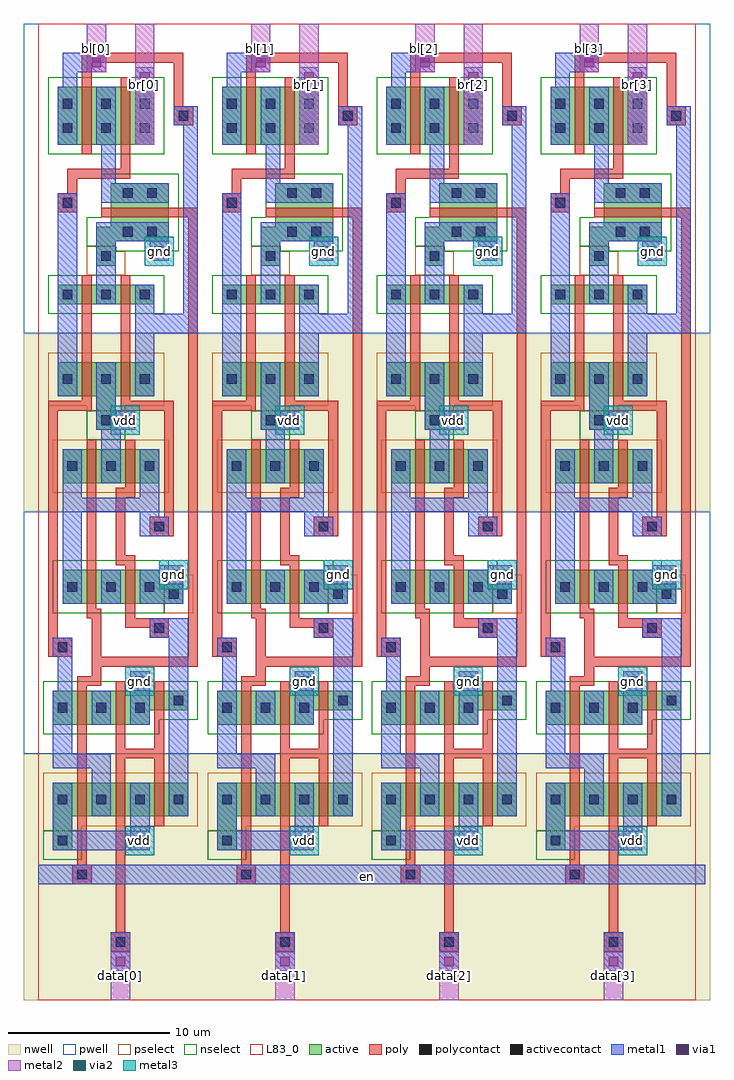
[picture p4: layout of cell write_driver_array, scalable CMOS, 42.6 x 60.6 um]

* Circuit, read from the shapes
.subckt write_driver_array bl[0] bl[1] bl[2] bl[3] br[0] br[1] br[2] br[3] data[0] data[1] data[2] data[3] en gnd vdd
M1 n1 en n2 gnd nfet w=2.1u l=0.6u
M2 gnd n2 n3 gnd nfet w=1.2u l=0.6u
M3 n4 n5 bl[0] gnd nfet w=3.6u l=0.6u
M4 n6 en n7 gnd nfet w=2.1u l=0.6u
M5 n4 en gnd gnd nfet w=3.6u l=0.6u
M6 gnd data[0] n1 gnd nfet w=2.1u l=0.6u
M7 n5 n7 gnd gnd nfet w=1.2u l=0.6u
M8 br[0] n3 n4 gnd nfet w=3.6u l=0.6u
M9 gnd n8 n6 gnd nfet w=2.1u l=0.6u
M10 n8 data[0] gnd gnd nfet w=1.2u l=0.6u
M11 n9 en n10 gnd nfet w=2.1u l=0.6u
M12 gnd n10 n11 gnd nfet w=1.2u l=0.6u
M13 n12 n13 bl[1] gnd nfet w=3.6u l=0.6u
M14 n14 en n15 gnd nfet w=2.1u l=0.6u
M15 n12 en gnd gnd nfet w=3.6u l=0.6u
M16 gnd data[1] n9 gnd nfet w=2.1u l=0.6u
M17 n13 n15 gnd gnd nfet w=1.2u l=0.6u
M18 br[1] n11 n12 gnd nfet w=3.6u l=0.6u
M19 gnd n16 n14 gnd nfet w=2.1u l=0.6u
M20 n16 data[1] gnd gnd nfet w=1.2u l=0.6u
M21 n17 en n18 gnd nfet w=2.1u l=0.6u
M22 gnd n18 n19 gnd nfet w=1.2u l=0.6u
M23 n20 n21 bl[2] gnd nfet w=3.6u l=0.6u
M24 n22 en n23 gnd nfet w=2.1u l=0.6u
M25 n20 en gnd gnd nfet w=3.6u l=0.6u
M26 gnd data[2] n17 gnd nfet w=2.1u l=0.6u
M27 n21 n23 gnd gnd nfet w=1.2u l=0.6u
M28 br[2] n19 n20 gnd nfet w=3.6u l=0.6u
M29 gnd n24 n22 gnd nfet w=2.1u l=0.6u
M30 n24 data[2] gnd gnd nfet w=1.2u l=0.6u
M31 n25 en n26 gnd nfet w=2.1u l=0.6u
M32 gnd n26 n27 gnd nfet w=1.2u l=0.6u
M33 n28 n29 bl[3] gnd nfet w=3.6u l=0.6u
M34 n30 en n31 gnd nfet w=2.1u l=0.6u
M35 n28 en gnd gnd nfet w=3.6u l=0.6u
M36 gnd data[3] n25 gnd nfet w=2.1u l=0.6u
M37 n29 n31 gnd gnd nfet w=1.2u l=0.6u
M38 br[3] n27 n28 gnd nfet w=3.6u l=0.6u
M39 gnd n32 n30 gnd nfet w=2.1u l=0.6u
M40 n32 data[3] gnd gnd nfet w=1.2u l=0.6u
M41 n2 en vdd vdd pfet w=2.1u l=0.6u
M42 vdd n2 n3 vdd pfet w=2.1u l=0.6u
M43 vdd en n7 vdd pfet w=2.1u l=0.6u
M44 vdd data[0] n2 vdd pfet w=2.1u l=0.6u
M45 n5 n7 vdd vdd pfet w=2.1u l=0.6u
M46 n7 n8 vdd vdd pfet w=2.1u l=0.6u
M47 n8 data[0] vdd vdd pfet w=2.1u l=0.6u
M48 n10 en vdd vdd pfet w=2.1u l=0.6u
M49 vdd n10 n11 vdd pfet w=2.1u l=0.6u
M50 vdd en n15 vdd pfet w=2.1u l=0.6u
M51 vdd data[1] n10 vdd pfet w=2.1u l=0.6u
M52 n13 n15 vdd vdd pfet w=2.1u l=0.6u
M53 n15 n16 vdd vdd pfet w=2.1u l=0.6u
M54 n16 data[1] vdd vdd pfet w=2.1u l=0.6u
M55 n18 en vdd vdd pfet w=2.1u l=0.6u
M56 vdd n18 n19 vdd pfet w=2.1u l=0.6u
M57 vdd en n23 vdd pfet w=2.1u l=0.6u
M58 vdd data[2] n18 vdd pfet w=2.1u l=0.6u
M59 n21 n23 vdd vdd pfet w=2.1u l=0.6u
M60 n23 n24 vdd vdd pfet w=2.1u l=0.6u
M61 n24 data[2] vdd vdd pfet w=2.1u l=0.6u
M62 n26 en vdd vdd pfet w=2.1u l=0.6u
M63 vdd n26 n27 vdd pfet w=2.1u l=0.6u
M64 vdd en n31 vdd pfet w=2.1u l=0.6u
M65 vdd data[3] n26 vdd pfet w=2.1u l=0.6u
M66 n29 n31 vdd vdd pfet w=2.1u l=0.6u
M67 n31 n32 vdd vdd pfet w=2.1u l=0.6u
M68 n32 data[3] vdd vdd pfet w=2.1u l=0.6u
.ends

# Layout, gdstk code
import gdstk
lib = gdstk.Library(unit=1e-6, precision=1e-09)
def R(c, l, rs):  # rectangles x0, y0, x1, y1
    for r in rs: c.add(gdstk.rectangle(r[:2], r[2:], *l))
def A(c, l, x, y, w, h, nx, ny, dx, dy):  # array of equal rectangles
    R(c, l, [(x+i*dx, y+j*dy, x+i*dx+w, y+j*dy+h) for i in range(nx) for j in range(ny)])
pwell = (41, 0)
nwell = (42, 0)
active = (43, 0)
pselect = (44, 0)
nselect = (45, 0)
poly = (46, 0)
polycontact = (47, 0)
activecontact = (48, 0)
metal1 = (49, 0)
via1 = (50, 0)
metal2 = (51, 0)
via2 = (61, 0)
metal3 = (62, 0)
L83_0 = (83, 0)

write_driver = lib.new_cell('write_driver')
R(write_driver, pwell, [(-0.9,15.3,11.1,30.3), (-0.9,41.4,11.1,60.6)])
R(write_driver, nwell, [(-0.9,0,11.1,15.3), (-0.9,30.3,11.1,41.4)])
R(write_driver, active, [(0.9,9.3,2.1,11.4), (0.9,11.4,9.3,13.5), (0.9,17.1,6.9,18), (0.9,18,9.3,19.2), (1.5,24.6,9,25.8), (1.5,25.8,7.5,26.7), (1.5,32.1,7.5,34.2), (3.6,35.4,4.8,37.5), (1.2,37.5,7.2,39.6), (1.2,43.2,7.2,44.4), (3.6,45.6,4.8,47.1), (3.6,47.1,8.1,48), (4.5,48,8.1,50.7), (1.2,53.1,7.2,56.7)])
R(write_driver, pselect, [(0.3,10.5,2.7,10.8), (0.3,10.8,9.9,14.1), (7.8,24,9.6,25.8), (8.1,25.8,9.6,26.4), (0.9,31.5,8.1,34.8), (3,36.6,5.4,36.9), (0.6,36.9,7.8,40.2), (3,45,5.4,46.5), (3,46.5,4.8,46.8)])
R(write_driver, nselect, [(0.3,8.7,2.7,10.5), (0.3,16.5,7.5,17.4), (0.3,17.4,9.9,19.8), (0.9,24,7.8,25.8), (0.9,25.8,8.1,27.3), (3,34.8,5.4,36.6), (0.6,42.6,7.8,45), (4.8,46.5,8.7,46.8), (3,46.8,8.7,48.6), (3.9,48.6,8.7,51.3), (0.6,52.5,7.8,57.3)])
R(write_driver, poly, [(4.5,3,5.7,4.2), (4.8,4.2,5.4,15), (2.1,7.2,3.3,8.4), (2.4,8.4,3,19.5), (7.2,10.8,7.8,15), (4.8,15,7.8,15.6), (4.8,15.6,5.4,19.8), (7.2,15.6,7.8,19.8), (2.4,19.5,3.9,20.1), (3.3,20.1,3.9,20.7), (3.3,20.7,9.9,21.3), (0.6,21.3,2.1,22.5), (3.3,21.3,3.9,23.7), (9.3,21.3,9.9,48.6), (0.6,22.5,1.2,36.6), (6.9,22.5,8.1,23.1), (5.4,23.1,8.1,23.7), (3,23.7,3.9,24.3), (5.4,23.7,6,27), (3,24.3,3.6,34.8), (4.8,27,6,27.6), (4.8,27.6,5.4,31.2), (6.9,28.8,8.4,30), (7.8,30,8.4,36.6), (4.8,31.2,6,31.8), (5.4,31.8,6,34.8), (0.6,36.6,3.3,37.2), (5.1,36.6,8.4,37.2), (2.7,37.2,3.3,45), (5.1,37.2,5.7,45), (3.9,48.6,9.9,49.2), (1.2,48.9,2.4,50.1), (1.8,50.1,2.4,51), (1.8,51,5.7,51.6), (5.1,51.6,5.7,57.3), (2.7,52.5,3.3,58.2), (8.4,54.3,9.6,55.5), (8.4,55.5,9,58.2), (2.7,58.2,9,58.8)])
R(write_driver, polycontact, [(4.8,3.3,5.4,3.9), (2.4,7.5,3,8.1), (1.2,21.6,1.8,22.2), (7.2,22.8,7.8,23.4), (7.2,29.1,7.8,29.7), (1.5,49.2,2.1,49.8), (8.7,54.6,9.3,55.2)])
A(write_driver, activecontact, 1.2, 12.15, 0.6, 0.6, 4, 1, 2.4, 0)
A(write_driver, activecontact, 1.2, 17.85, 0.6, 0.6, 3, 1, 2.4, 0)
A(write_driver, activecontact, 1.8, 25.35, 0.6, 0.6, 3, 2, 2.4, 7.5)
A(write_driver, activecontact, 1.5, 38.25, 0.6, 0.6, 3, 2, 2.4, 5.25)
A(write_driver, activecontact, 1.5, 53.85, 0.6, 0.6, 3, 2, 2.4, 1.5)
R(write_driver, activecontact, [(1.2,9.6,1.8,10.2), (8.4,18.3,9,18.9), (8.1,24.9,8.7,25.5), (3.9,35.7,4.5,36.3), (3.9,45.9,4.5,46.5), (5.25,47.4,5.85,48), (6.75,47.4,7.35,48), (5.25,49.8,5.85,50.4), (6.75,49.8,7.35,50.4)])
R(write_driver, metal1, [(4.5,1.8,5.7,4.2), (0,7.2,10.8,8.4), (0,7.2,10.8,8.4), (0.9,9.3,6.9,10.5), (0.9,10.5,2.1,13.5), (5.7,10.5,6.9,13.5), (3.3,11.4,4.5,14.4), (8.1,11.4,9.3,22.5), (0.9,14.4,4.5,15.3), (0.9,15.3,2.1,19.2), (3.3,17.1,4.5,19.2), (5.7,17.1,6.9,20.4), (1.2,19.2,2.1,21.3), (0.9,21.3,2.1,22.5), (6.9,22.5,9.3,23.7), (1.5,24.6,2.7,30.3), (3.9,24.6,5.1,26.7), (6.3,24.6,9,26.7), (7.5,26.7,9,27), (6.3,28.8,8.1,30), (6.3,30,7.5,30.3), (1.5,30.3,7.5,31.2), (1.5,31.2,2.7,34.2), (6.3,31.2,7.5,34.2), (3.9,32.1,5.1,35.4), (3.6,35.4,6,36.6), (3.6,36.6,4.8,39.6), (1.2,37.5,2.4,50.1), (6,37.5,7.2,41.4), (6,41.4,9.9,42.6), (6,42.6,7.2,44.4), (9,42.6,9.9,54.3), (3.6,43.2,4.8,47.1), (6.9,45.9,8.1,47.1), (3.6,47.1,8.1,48.3), (3.9,49.5,8.1,50.7), (3.9,50.7,4.8,53.1), (1.2,53.1,2.4,56.7), (3.6,53.1,4.8,56.7), (6,53.1,7.2,57.9), (8.4,54.3,9.9,55.5), (1.5,56.7,2.4,57.6), (1.5,57.6,4.2,58.8)])
R(write_driver, via1, [(4.8,2.1,5.4,2.7), (6,9.6,6.6,10.2), (6,19.5,6.6,20.1), (8.1,26.1,8.7,26.7), (5.1,35.7,5.7,36.3), (7.2,46.2,7.8,46.8), (6.3,57,6.9,57.6), (3.3,57.9,3.9,58.5)])
R(write_driver, metal2, [(4.5,0,5.7,3), (4.5,0,5.7,3), (5.7,9.3,6.9,10.5), (5.7,9.3,6.9,10.5), (5.7,19.2,6.9,20.4), (5.7,19.2,6.9,20.4), (7.8,25.8,9,27), (7.8,25.8,9,27), (4.8,35.4,6,36.6), (4.8,35.4,6,36.6), (6.9,45.9,8.1,47.1), (6.9,45.9,8.1,47.1), (6,53.1,7.2,60.6), (6,53.1,7.2,60.6), (3,57.6,4.2,60.6), (3,57.6,4.2,60.6)])
R(write_driver, L83_0, [(0,0,10.2,60.6)])
write_driver.add(gdstk.Label('din', (4.5,0.3), layer=51, texttype=0))
write_driver.add(gdstk.Label('en', (0.6,7.5), layer=49, texttype=0))
write_driver.add(gdstk.Label('bl', (3.6,60), layer=51, texttype=0))
write_driver.add(gdstk.Label('br', (6.6,60), layer=51, texttype=0))
write_driver.add(gdstk.Label('gnd', (6.3,19.8), layer=51, texttype=0))
write_driver.add(gdstk.Label('gnd', (8.4,26.4), layer=51, texttype=0))
write_driver.add(gdstk.Label('vdd', (6.3,9.9), layer=51, texttype=0))
write_driver.add(gdstk.Label('vdd', (5.4,36), layer=51, texttype=0))
write_driver.add(gdstk.Label('gnd', (7.5,46.5), layer=51, texttype=0))
write_driver.add(gdstk.Label('din', (5.1,1.5), layer=51, texttype=0))
write_driver.add(gdstk.Label('bl', (3.6,59.1), layer=51, texttype=0))
write_driver.add(gdstk.Label('br', (6.6,56.85), layer=51, texttype=0))
write_driver.add(gdstk.Label('en', (5.4,7.8), layer=49, texttype=0))
write_driver.add(gdstk.Label('gnd', (6.3,19.8), layer=51, texttype=0))
write_driver.add(gdstk.Label('gnd', (8.4,26.4), layer=51, texttype=0))
write_driver.add(gdstk.Label('gnd', (7.5,46.5), layer=51, texttype=0))
write_driver.add(gdstk.Label('vdd', (6.3,9.9), layer=51, texttype=0))
write_driver.add(gdstk.Label('vdd', (5.4,36), layer=51, texttype=0))

metal2_via2_metal3_1x1 = lib.new_cell('metal2_via2_metal3_1x1')
R(metal2_via2_metal3_1x1, metal2, [(0.3,0.3,1.5,1.5)])
R(metal2_via2_metal3_1x1, via2, [(0.6,0.6,1.2,1.2)])
R(metal2_via2_metal3_1x1, metal3, [(0,0,1.8,1.8)])

write_driver_array = lib.new_cell('write_driver_array')
R(write_driver_array, metal1, [(0,7.2,40.8,8.1)])
A(write_driver_array, metal2, 4.5, 0, 1.2, 3, 4, 1, 10.2, 0)
A(write_driver_array, metal2, 6, 53.1, 1.2, 7.5, 4, 1, 10.2, 0)
A(write_driver_array, metal2, 3, 57.6, 1.2, 3, 4, 1, 10.2, 0)
A(write_driver_array, metal3, 5.55, 9.15, 1.5, 1.5, 4, 2, 10.2, 9.9)
A(write_driver_array, metal3, 7.65, 25.65, 1.5, 1.5, 4, 1, 10.2, 0)
A(write_driver_array, metal3, 4.65, 35.25, 1.5, 1.5, 4, 1, 10.2, 0)
A(write_driver_array, metal3, 6.75, 45.75, 1.5, 1.5, 4, 1, 10.2, 0)
write_driver_array.add(gdstk.Reference(write_driver, (0,0)))
write_driver_array.add(gdstk.Reference(write_driver, (10.2,0)))
write_driver_array.add(gdstk.Reference(write_driver, (20.4,0)))
write_driver_array.add(gdstk.Reference(write_driver, (30.6,0)))
write_driver_array.add(gdstk.Reference(metal2_via2_metal3_1x1, (5.4,9)))
write_driver_array.add(gdstk.Reference(metal2_via2_metal3_1x1, (4.5,35.1)))
write_driver_array.add(gdstk.Reference(metal2_via2_metal3_1x1, (5.4,18.9)))
write_driver_array.add(gdstk.Reference(metal2_via2_metal3_1x1, (7.5,25.5)))
write_driver_array.add(gdstk.Reference(metal2_via2_metal3_1x1, (6.6,45.6)))
write_driver_array.add(gdstk.Reference(metal2_via2_metal3_1x1, (15.6,9)))
write_driver_array.add(gdstk.Reference(metal2_via2_metal3_1x1, (14.7,35.1)))
write_driver_array.add(gdstk.Reference(metal2_via2_metal3_1x1, (15.6,18.9)))
write_driver_array.add(gdstk.Reference(metal2_via2_metal3_1x1, (17.7,25.5)))
write_driver_array.add(gdstk.Reference(metal2_via2_metal3_1x1, (16.8,45.6)))
write_driver_array.add(gdstk.Reference(metal2_via2_metal3_1x1, (25.8,9)))
write_driver_array.add(gdstk.Reference(metal2_via2_metal3_1x1, (24.9,35.1)))
write_driver_array.add(gdstk.Reference(metal2_via2_metal3_1x1, (25.8,18.9)))
write_driver_array.add(gdstk.Reference(metal2_via2_metal3_1x1, (27.9,25.5)))
write_driver_array.add(gdstk.Reference(metal2_via2_metal3_1x1, (27,45.6)))
write_driver_array.add(gdstk.Reference(metal2_via2_metal3_1x1, (36,9)))
write_driver_array.add(gdstk.Reference(metal2_via2_metal3_1x1, (35.1,35.1)))
write_driver_array.add(gdstk.Reference(metal2_via2_metal3_1x1, (36,18.9)))
write_driver_array.add(gdstk.Reference(metal2_via2_metal3_1x1, (38.1,25.5)))
write_driver_array.add(gdstk.Reference(metal2_via2_metal3_1x1, (37.2,45.6)))
write_driver_array.add(gdstk.Label('data[0]', (5.1,1.5), layer=51, texttype=0))
write_driver_array.add(gdstk.Label('bl[0]', (3.6,59.1), layer=51, texttype=0))
write_driver_array.add(gdstk.Label('br[0]', (6.6,56.85), layer=51, texttype=0))
write_driver_array.add(gdstk.Label('vdd', (6.3,9.9), layer=62, texttype=0))
write_driver_array.add(gdstk.Label('vdd', (5.4,36), layer=62, texttype=0))
write_driver_array.add(gdstk.Label('vdd', (16.5,9.9), layer=62, texttype=0))
write_driver_array.add(gdstk.Label('vdd', (15.6,36), layer=62, texttype=0))
write_driver_array.add(gdstk.Label('vdd', (26.7,9.9), layer=62, texttype=0))
write_driver_array.add(gdstk.Label('vdd', (25.8,36), layer=62, texttype=0))
write_driver_array.add(gdstk.Label('vdd', (36.9,9.9), layer=62, texttype=0))
write_driver_array.add(gdstk.Label('vdd', (36,36), layer=62, texttype=0))
write_driver_array.add(gdstk.Label('gnd', (6.3,19.8), layer=62, texttype=0))
write_driver_array.add(gdstk.Label('gnd', (8.4,26.4), layer=62, texttype=0))
write_driver_array.add(gdstk.Label('gnd', (7.5,46.5), layer=62, texttype=0))
write_driver_array.add(gdstk.Label('gnd', (16.5,19.8), layer=62, texttype=0))
write_driver_array.add(gdstk.Label('gnd', (18.6,26.4), layer=62, texttype=0))
write_driver_array.add(gdstk.Label('gnd', (17.7,46.5), layer=62, texttype=0))
write_driver_array.add(gdstk.Label('gnd', (26.7,19.8), layer=62, texttype=0))
write_driver_array.add(gdstk.Label('gnd', (28.8,26.4), layer=62, texttype=0))
write_driver_array.add(gdstk.Label('gnd', (27.9,46.5), layer=62, texttype=0))
write_driver_array.add(gdstk.Label('gnd', (36.9,19.8), layer=62, texttype=0))
write_driver_array.add(gdstk.Label('gnd', (39,26.4), layer=62, texttype=0))
write_driver_array.add(gdstk.Label('gnd', (38.1,46.5), layer=62, texttype=0))
write_driver_array.add(gdstk.Label('data[1]', (15.3,1.5), layer=51, texttype=0))
write_driver_array.add(gdstk.Label('bl[1]', (13.8,59.1), layer=51, texttype=0))
write_driver_array.add(gdstk.Label('br[1]', (16.8,56.85), layer=51, texttype=0))
write_driver_array.add(gdstk.Label('data[2]', (25.5,1.5), layer=51, texttype=0))
write_driver_array.add(gdstk.Label('bl[2]', (24,59.1), layer=51, texttype=0))
write_driver_array.add(gdstk.Label('br[2]', (27,56.85), layer=51, texttype=0))
write_driver_array.add(gdstk.Label('data[3]', (35.7,1.5), layer=51, texttype=0))
write_driver_array.add(gdstk.Label('bl[3]', (34.2,59.1), layer=51, texttype=0))
write_driver_array.add(gdstk.Label('br[3]', (37.2,56.85), layer=51, texttype=0))
write_driver_array.add(gdstk.Label('en', (20.4,7.65), layer=49, texttype=0))

lib.write_gds('write_driver_array.gds')
